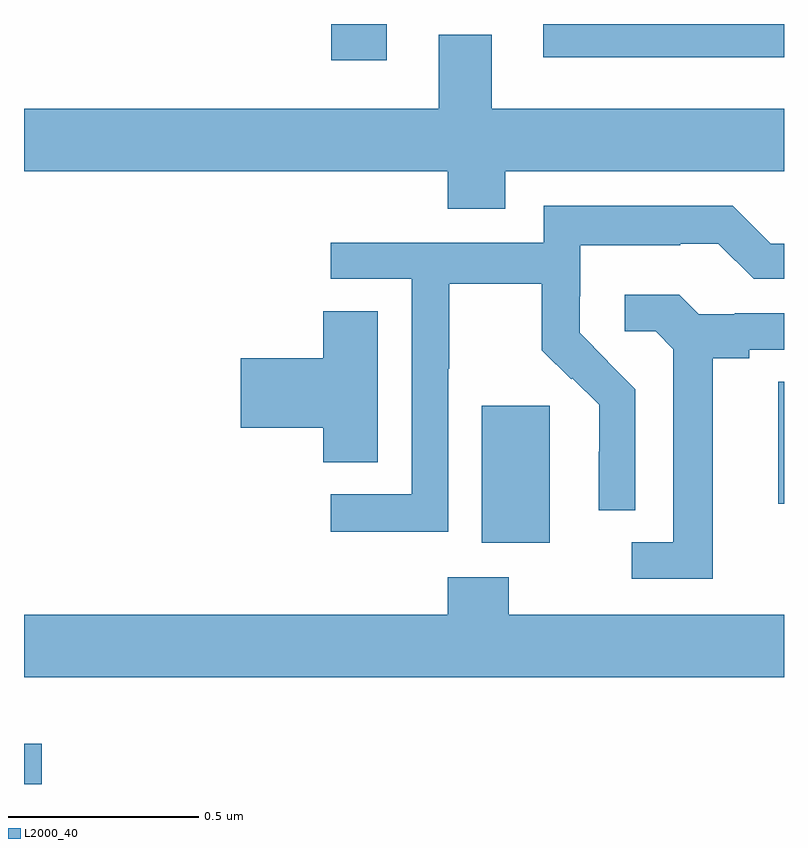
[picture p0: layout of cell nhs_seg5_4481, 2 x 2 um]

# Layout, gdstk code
import gdstk
lib = gdstk.Library(unit=1e-6, precision=1e-09)
def R(c, l, rs):  # rectangles x0, y0, x1, y1
    for r in rs: c.add(gdstk.rectangle(r[:2], r[2:], *l))
def P(c, l, *ps):  # polygons
    for p in ps: c.add(gdstk.Polygon(p, *l))
L2000_40 = (2000, 40)

nhs_seg5_4481 = lib.new_cell('nhs_seg5_4481')
R(nhs_seg5_4481, L2000_40, [(171,869.799,171.047,869.905), (172.205,870.434,172.384,870.795), (172.985,870.537,173,870.857), (171.808,871.704,171.955,871.799), (172.367,871.712,173,871.799)])
P(nhs_seg5_4481, L2000_40, [(172.267,871.412),(173,871.412),(173,871.576),(172.231,871.576),(172.231,871.771),(172.091,871.771),(172.091,871.576),(171,871.576),(171,871.412),(172.115,871.412),(172.115,871.313),(172.267,871.313)],
  [(172.116,870.892),(172.119,870.892),(172.119,871.116),(172.363,871.116),(172.363,870.941),(172.44,870.864),(172.443,870.867),(172.514,870.797),(172.514,870.674),(172.512,870.674),(172.512,870.52),(172.608,870.52),(172.608,870.838),(172.535,870.911),(172.536,870.912),(172.462,870.986),(172.462,871.083),(172.464,871.083),(172.464,871.217),(172.727,871.217),(172.727,871.221),(172.827,871.221),(172.92,871.128),(173,871.128),(173,871.221),(172.965,871.221),(172.865,871.321),(172.368,871.321),(172.368,871.224),(171.807,871.224),(171.807,871.128),(172.02,871.128),(172.02,870.561),(171.807,870.561),(171.807,870.463),(172.116,870.463)],
  [(172.813,870.92),(172.909,870.92),(172.909,870.942),(173,870.942),(173,871.038),(172.87,871.038),(172.87,871.035),(172.776,871.035),(172.724,871.087),(172.581,871.087),(172.581,870.99),(172.662,870.99),(172.709,870.943),(172.709,870.435),(172.599,870.435),(172.599,870.339),(172.813,870.339)],
  [(171.931,871.043),(171.788,871.043),(171.788,870.92),(171.57,870.92),(171.57,870.737),(171.788,870.737),(171.788,870.646),(171.931,870.646)],
  [(173,870.244),(172.275,870.244),(172.275,870.343),(172.115,870.343),(172.115,870.244),(171,870.244),(171,870.08),(173,870.08)])

lib.write_gds('nhs_seg5_4481.gds')
